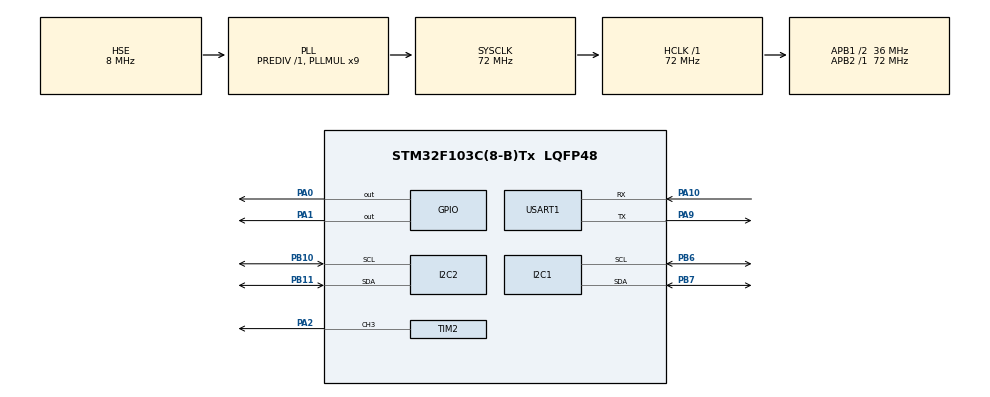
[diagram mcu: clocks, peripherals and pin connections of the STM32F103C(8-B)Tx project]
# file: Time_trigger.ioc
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I2C2.I2C_Mode=I2C_Fast
Mcu.Family=STM32F1
Mcu.Name=STM32F103C(8-B)Tx
Mcu.Package=LQFP48
NVIC.PriorityGroup=NVIC_PRIORITYGROUP_4
NVIC.USART1_IRQn=true\:0\:0\:false\:false\:true\:true\:true\:true
PA0-WKUP.Signal=GPIO_Output
PA1.Signal=GPIO_Output
PA10.Mode=Asynchronous
PA10.Signal=USART1_RX
PA13.Mode=Serial_Wire
PA13.Signal=SYS_JTMS-SWDIO
PA14.Mode=Serial_Wire
PA14.Signal=SYS_JTCK-SWCLK
PA2.Signal=S_TIM2_CH3
PA9.Mode=Asynchronous
PA9.Signal=USART1_TX
PB10.Mode=I2C
PB10.Signal=I2C2_SCL
PB11.Mode=I2C
PB11.Signal=I2C2_SDA
PB6.Mode=I2C
PB6.Signal=I2C1_SCL
PB7.Mode=I2C
PB7.Signal=I2C1_SDA
PD0-OSC_IN.Mode=HSE-External-Oscillator
PD0-OSC_IN.Signal=RCC_OSC_IN
PD1-OSC_OUT.Mode=HSE-External-Oscillator
PD1-OSC_OUT.Signal=RCC_OSC_OUT
ProjectManager.HeapSize=0x200
ProjectManager.StackSize=0x400
ProjectManager.TargetToolchain=STM32CubeIDE
RCC.AHBFreq_Value=72000000
RCC.APB1CLKDivider=RCC_HCLK_DIV2
RCC.APB1Freq_Value=36000000
RCC.APB1TimFreq_Value=72000000
RCC.APB2Freq_Value=72000000
RCC.APB2TimFreq_Value=72000000
RCC.HCLKFreq_Value=72000000
RCC.PLLMUL=RCC_PLL_MUL9
RCC.PLLSourceVirtual=RCC_PLLSOURCE_HSE
RCC.SYSCLKFreq_VALUE=72000000
RCC.SYSCLKSource=RCC_SYSCLKSOURCE_PLLCLK
RCC.USBFreq_Value=72000000
SH.S_TIM2_CH3.0=TIM2_CH3,PWM Generation3 CH3
TIM2.Channel-PWM\ Generation3\ CH3=TIM_CHANNEL_3
TIM2.Period=100
TIM2.Prescaler=72-1
USART1.VirtualMode=VM_ASYNC
board=custom

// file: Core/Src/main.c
/* USER CODE BEGIN Header */
/**
  ******************************************************************************
  * @file           : main.c
  * @brief          : Main program body
  ******************************************************************************
  * @attention
  *
  * Copyright (c) 2025 STMicroelectronics.
  * All rights reserved.
  *
  * This software is licensed under terms that can be found in the LICENSE file
  * in the root directory of this software component.
  * If no LICENSE file comes with this software, it is provided AS-IS.
  *
  ******************************************************************************
  */
/* USER CODE END Header */
#include "main.h"

/* USER CODE BEGIN Includes */
#include "string.h"
#include "stdio.h"
#include "stdlib.h"
#include "i2c_lcd.h"
#include "aht10.h"
/* USER CODE END Includes */

I2C_HandleTypeDef hi2c1;
I2C_HandleTypeDef hi2c2;

TIM_HandleTypeDef htim2;

UART_HandleTypeDef huart1;

/* USER CODE BEGIN PV */
AHT10_HandleTypeDef aht10;
I2C_LCD_HandleTypeDef lcd;

char command_buffer[64];
volatile uint8_t command_ready = 0;
uint8_t rx_byte;  // byte nhận qua UART

// Motor control
//Biến toàn cục lưu trạng thái điều khiển
typedef enum { OFF = 0, ON = 1 } MotorPower;
typedef enum { CW = 0, CCW = 1 } MotorDirection;
typedef enum { DISPLAY_ALL, DISPLAY_TEMP, DISPLAY_HUMID } DisplayMode;

volatile MotorPower motor_power = OFF;
volatile MotorDirection motor_dir = CW;
volatile uint8_t motor_speed = 0;
volatile DisplayMode display_mode = DISPLAY_ALL;

float temperature = 0.0f;
float humidity = 0.0f;
/* USER CODE END PV */

void SystemClock_Config(void);
static void MX_GPIO_Init(void);
static void MX_I2C1_Init(void);
static void MX_I2C2_Init(void);
static void MX_TIM2_Init(void);
static void MX_USART1_UART_Init(void);
/* USER CODE BEGIN PFP */
//Xử lí lệnh UART
void parse_command(char *cmd) {
	if (strncmp(cmd, "!motor ", 7) == 0) {
		if (strstr(cmd, "on"))
			motor_power = ON;
		else if (strstr(cmd, "off"))
			motor_power = OFF;
	} else if (strncmp(cmd, "!rotate ", 8) == 0) {
		if (strstr(cmd, "ccw"))
			motor_dir = CCW;
		else if (strstr(cmd, "cw"))
			motor_dir = CW;
	} else if (strncmp(cmd, "!speed ", 7) == 0) {
		int val = atoi(&cmd[7]);
		if (val >= 0 && val <= 100)
			motor_speed = val;
	} else if (strncmp(command_buffer, "!display ", 9) == 0) {
		if (strstr(command_buffer, "all"))
			display_mode = DISPLAY_ALL;
		else if (strstr(command_buffer, "temp"))
			display_mode = DISPLAY_TEMP;
		else if (strstr(command_buffer, "humid"))
			display_mode = DISPLAY_HUMID;
	}

	// Phản hồi trạng thái
	char msg[64];
	sprintf(msg, "Motor: %s, Dir: %s, Speed: %d, Display: %s\r\n",
			(motor_power == ON) ? "ON" : "OFF",
			(motor_dir == CW) ? "CW" : "CCW", motor_speed,
			(display_mode == DISPLAY_ALL) ? "ALL" :
			(display_mode == DISPLAY_TEMP) ? "TEMP" : "HUMID");

	HAL_UART_Transmit(&huart1, (uint8_t*) msg, strlen(msg), 100);
}

//Task 1: đọc cảm biến AHT10
void task_sensor(void) {
    uint32_t hum_raw = 0, temp_raw = 0;
    if (AHT10_ReadRaw(&aht10, &hum_raw, &temp_raw)) {
        temperature = AHT10_ReadTemperature(temp_raw);
        humidity = AHT10_ReadHumidity(hum_raw);
    }
}

//Task 2: hiển thị LCD
void task_lcd(void) {
	char lcd_buf[32];
	int ti = (int)temperature;
	int tf = (int)((temperature - ti) * 10);
	int hi = (int)humidity;
	int hf = (int)((humidity - hi) * 10);

	switch (display_mode) {
	case DISPLAY_ALL:
		sprintf(lcd_buf, "Temp: %d.%d C", ti, tf);
		lcd_gotoxy(&lcd, 0, 0);
		lcd_puts(&lcd, lcd_buf);

		sprintf(lcd_buf, "Hum:  %d.%d %%", hi, hf);
		lcd_gotoxy(&lcd, 0, 1);
		lcd_puts(&lcd, lcd_buf);
		break;

	case DISPLAY_TEMP:
		sprintf(lcd_buf, "Temp: %d.%d C", ti, tf);
		lcd_gotoxy(&lcd, 0, 0);
		lcd_puts(&lcd, lcd_buf);

		lcd_gotoxy(&lcd, 0, 1);
		lcd_puts(&lcd, "                "); // Clear dòng 2
		break;

	case DISPLAY_HUMID:
		sprintf(lcd_buf, "Hum:  %d.%d %%", hi, hf);
		lcd_gotoxy(&lcd, 0, 0);
		lcd_puts(&lcd, lcd_buf);

		lcd_gotoxy(&lcd, 0, 1);
		lcd_puts(&lcd, "                "); // Clear dòng 2
		break;
	}
}

//Task 3: gửi UART
void task_uart_tx(void) {
    char buf[64];
    sprintf(buf, "temperature: %.1f C, humidity: %.1f %%\r\n", temperature, humidity);
    HAL_UART_Transmit(&huart1, (uint8_t*)buf, strlen(buf), 100);
}

//Task 4: điều khiển động cơ
void task_motor(void) {
    if (motor_power == ON) {
        // Điều chỉnh chiều quay
        if (motor_dir == CW) {
            HAL_GPIO_WritePin(GPIOA, GPIO_PIN_0, GPIO_PIN_SET);   // IN1
            HAL_GPIO_WritePin(GPIOA, GPIO_PIN_1, GPIO_PIN_RESET); // IN2
        } else {
            HAL_GPIO_WritePin(GPIOA, GPIO_PIN_0, GPIO_PIN_RESET);
            HAL_GPIO_WritePin(GPIOA, GPIO_PIN_1, GPIO_PIN_SET);
        }

        HAL_TIM_PWM_Start(&htim2, TIM_CHANNEL_3);
        // Tốc độ: từ 0 đến 100
        __HAL_TIM_SET_COMPARE(&htim2, TIM_CHANNEL_3, motor_speed);
    } else {
        // Dừng động cơ
        __HAL_TIM_SET_COMPARE(&htim2, TIM_CHANNEL_3, 0);
    }
}

//hàm xử lí vòng lập lịch (chạy đúng 1 frame)
void loop_scheduler(void) {
    static uint16_t tick = 0;

    if (tick % 4 == 0)    task_motor();      // 100ms
    if (tick % 20 == 0)   task_lcd();        // 500ms
    if (tick % 80 == 0)   task_sensor();     // 2000ms
    if (tick % 400 == 0)  task_uart_tx();    // 10000ms

    if (command_ready) {
            parse_command(command_buffer);     //Gọi xử lý lệnh
            command_ready = 0;
            memset(command_buffer, 0, sizeof(command_buffer));
        }

    tick++;
    if (tick >= 400) tick = 0;
}

/* USER CODE END PFP */

int main(void)
{

  /* MCU Configuration--------------------------------------------------------*/

  /* Reset of all peripherals, Initializes the Flash interface and the Systick. */
  HAL_Init();

  /* Configure the system clock */
  SystemClock_Config();

  /* Initialize all configured peripherals */
  MX_GPIO_Init();
  MX_I2C1_Init();
  MX_I2C2_Init();
  MX_TIM2_Init();
  MX_USART1_UART_Init();
  /* USER CODE BEGIN 2 */
	//Khởi tạo uart nhận 1 byte
	HAL_UART_Receive_IT(&huart1, &rx_byte, 1);

	//Khởi tạo timmer2 CH3
	HAL_TIM_PWM_Start(&htim2, TIM_CHANNEL_3);

	//Init LCD
	lcd.hi2c = &hi2c1;
	lcd.address = 0x4E;
	lcd_init(&lcd);
	lcd_clear(&lcd);

	//Init AHT10
	aht10.hi2c = &hi2c2;
	aht10.address = 0x38 << 1; //AHT10 default address << 1 = 0x38 << 1 = 0x70
	AHT10_Init(&aht10);
	HAL_Delay(50);
  /* USER CODE END 2 */

  /* Infinite loop */
  /* USER CODE BEGIN WHILE */
  while (1)
  {
	loop_scheduler();     // chạy 1 frame

    /* USER CODE END WHILE */

  }
}

void SystemClock_Config(void)
{
  RCC_OscInitTypeDef RCC_OscInitStruct = {0};
  RCC_ClkInitTypeDef RCC_ClkInitStruct = {0};

  /** Initializes the RCC Oscillators according to the specified parameters
  * in the RCC_OscInitTypeDef structure.
  */
  RCC_OscInitStruct.OscillatorType = RCC_OSCILLATORTYPE_HSE;
  RCC_OscInitStruct.HSEState = RCC_HSE_ON;
  RCC_OscInitStruct.HSEPredivValue = RCC_HSE_PREDIV_DIV1;
  RCC_OscInitStruct.HSIState = RCC_HSI_ON;
  RCC_OscInitStruct.PLL.PLLState = RCC_PLL_ON;
  RCC_OscInitStruct.PLL.PLLSource = RCC_PLLSOURCE_HSE;
  RCC_OscInitStruct.PLL.PLLMUL = RCC_PLL_MUL9;
  if (HAL_RCC_OscConfig(&RCC_OscInitStruct) != HAL_OK)
  {
    Error_Handler();
  }

  /** Initializes the CPU, AHB and APB buses clocks
  */
  RCC_ClkInitStruct.ClockType = RCC_CLOCKTYPE_HCLK|RCC_CLOCKTYPE_SYSCLK
                              |RCC_CLOCKTYPE_PCLK1|RCC_CLOCKTYPE_PCLK2;
  RCC_ClkInitStruct.SYSCLKSource = RCC_SYSCLKSOURCE_PLLCLK;
  RCC_ClkInitStruct.AHBCLKDivider = RCC_SYSCLK_DIV1;
  RCC_ClkInitStruct.APB1CLKDivider = RCC_HCLK_DIV2;
  RCC_ClkInitStruct.APB2CLKDivider = RCC_HCLK_DIV1;

  if (HAL_RCC_ClockConfig(&RCC_ClkInitStruct, FLASH_LATENCY_2) != HAL_OK)
  {
    Error_Handler();
  }
}

static void MX_I2C1_Init(void)
{

  hi2c1.Instance = I2C1;
  hi2c1.Init.ClockSpeed = 100000;
  hi2c1.Init.DutyCycle = I2C_DUTYCYCLE_2;
  hi2c1.Init.OwnAddress1 = 0;
  hi2c1.Init.AddressingMode = I2C_ADDRESSINGMODE_7BIT;
  hi2c1.Init.DualAddressMode = I2C_DUALADDRESS_DISABLE;
  hi2c1.Init.OwnAddress2 = 0;
  hi2c1.Init.GeneralCallMode = I2C_GENERALCALL_DISABLE;
  hi2c1.Init.NoStretchMode = I2C_NOSTRETCH_DISABLE;
  if (HAL_I2C_Init(&hi2c1) != HAL_OK)
  {
    Error_Handler();
  }

}

static void MX_I2C2_Init(void)
{

  hi2c2.Instance = I2C2;
  hi2c2.Init.ClockSpeed = 400000;
  hi2c2.Init.DutyCycle = I2C_DUTYCYCLE_2;
  hi2c2.Init.OwnAddress1 = 0;
  hi2c2.Init.AddressingMode = I2C_ADDRESSINGMODE_7BIT;
  hi2c2.Init.DualAddressMode = I2C_DUALADDRESS_DISABLE;
  hi2c2.Init.OwnAddress2 = 0;
  hi2c2.Init.GeneralCallMode = I2C_GENERALCALL_DISABLE;
  hi2c2.Init.NoStretchMode = I2C_NOSTRETCH_DISABLE;
  if (HAL_I2C_Init(&hi2c2) != HAL_OK)
  {
    Error_Handler();
  }

}

static void MX_TIM2_Init(void)
{

  TIM_MasterConfigTypeDef sMasterConfig = {0};
  TIM_OC_InitTypeDef sConfigOC = {0};

  htim2.Instance = TIM2;
  htim2.Init.Prescaler = 72-1;
  htim2.Init.CounterMode = TIM_COUNTERMODE_UP;
  htim2.Init.Period = 100;
  htim2.Init.ClockDivision = TIM_CLOCKDIVISION_DIV1;
  htim2.Init.AutoReloadPreload = TIM_AUTORELOAD_PRELOAD_DISABLE;
  if (HAL_TIM_PWM_Init(&htim2) != HAL_OK)
  {
    Error_Handler();
  }
  sMasterConfig.MasterOutputTrigger = TIM_TRGO_RESET;
  sMasterConfig.MasterSlaveMode = TIM_MASTERSLAVEMODE_DISABLE;
  if (HAL_TIMEx_MasterConfigSynchronization(&htim2, &sMasterConfig) != HAL_OK)
  {
    Error_Handler();
  }
  sConfigOC.OCMode = TIM_OCMODE_PWM1;
  sConfigOC.Pulse = 0;
  sConfigOC.OCPolarity = TIM_OCPOLARITY_HIGH;
  sConfigOC.OCFastMode = TIM_OCFAST_DISABLE;
  if (HAL_TIM_PWM_ConfigChannel(&htim2, &sConfigOC, TIM_CHANNEL_3) != HAL_OK)
  {
    Error_Handler();
  }
  HAL_TIM_MspPostInit(&htim2);

}

static void MX_USART1_UART_Init(void)
{

  huart1.Instance = USART1;
  huart1.Init.BaudRate = 115200;
  huart1.Init.WordLength = UART_WORDLENGTH_8B;
  huart1.Init.StopBits = UART_STOPBITS_1;
  huart1.Init.Parity = UART_PARITY_NONE;
  huart1.Init.Mode = UART_MODE_TX_RX;
  huart1.Init.HwFlowCtl = UART_HWCONTROL_NONE;
  huart1.Init.OverSampling = UART_OVERSAMPLING_16;
  if (HAL_UART_Init(&huart1) != HAL_OK)
  {
    Error_Handler();
  }

}

static void MX_GPIO_Init(void)
{
  GPIO_InitTypeDef GPIO_InitStruct = {0};

  /* GPIO Ports Clock Enable */
  __HAL_RCC_GPIOD_CLK_ENABLE();
  __HAL_RCC_GPIOA_CLK_ENABLE();
  __HAL_RCC_GPIOB_CLK_ENABLE();

  /*Configure GPIO pin Output Level */
  HAL_GPIO_WritePin(GPIOA, GPIO_PIN_0|GPIO_PIN_1, GPIO_PIN_RESET);

  /*Configure GPIO pins : PA0 PA1 */
  GPIO_InitStruct.Pin = GPIO_PIN_0|GPIO_PIN_1;
  GPIO_InitStruct.Mode = GPIO_MODE_OUTPUT_PP;
  GPIO_InitStruct.Pull = GPIO_NOPULL;
  GPIO_InitStruct.Speed = GPIO_SPEED_FREQ_LOW;
  HAL_GPIO_Init(GPIOA, &GPIO_InitStruct);

}

/* USER CODE BEGIN 4 */
void HAL_UART_RxCpltCallback(UART_HandleTypeDef *huart) {
    static uint8_t idx = 0;

    if (huart->Instance == USART1) {
//    	HAL_UART_Transmit(&huart1, (uint8_t*)"Byte OK\r\n", 9, 100);  // Gửi phản hồi xem có vào callback không
        if (rx_byte != '\n' && idx < sizeof(command_buffer) - 1) {
            command_buffer[idx++] = rx_byte;
        } else {
            command_buffer[idx] = '\0';
            idx = 0;
            command_ready = 1;
        }

        // Quan trọng: tiếp tục nhận byte mới
        HAL_UART_Receive_IT(&huart1, &rx_byte, 1);
    }
}

/* USER CODE END 4 */

void Error_Handler(void)
{
  __disable_irq();
  while (1)
  {
  }
}
